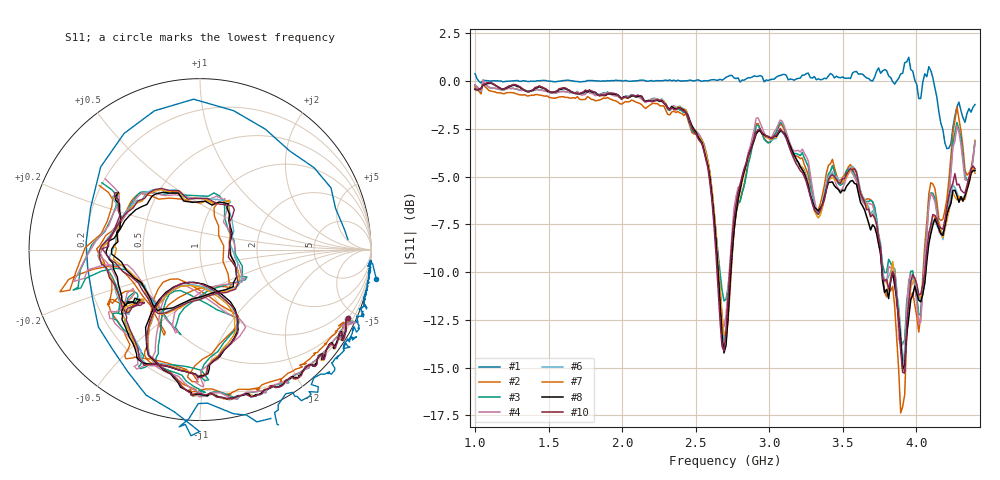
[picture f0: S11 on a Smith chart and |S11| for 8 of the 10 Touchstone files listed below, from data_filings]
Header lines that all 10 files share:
# MHz S MA R 50
!  freq  S11
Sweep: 1 GHz to 4.4 GHz
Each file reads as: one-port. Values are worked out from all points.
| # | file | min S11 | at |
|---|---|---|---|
| 1 | can3_air_aluminium.s1p | -3.5 dB | 4.209 GHz |
| 2 | can3_oil_aluminum_1.s1p | -17.4 dB | 3.895 GHz |
| 3 | can3_oil_aluminum_3.s1p | -13.9 dB | 3.895 GHz |
| 4 | can3_oil_aluminum_4.s1p | -13.8 dB | 3.895 GHz |
| 5 | can3_oil_aluminum_6.s1p | -16.9 dB | 3.908 GHz |
| 6 | can3_oil_aluminum_7.s1p | -15.0 dB | 3.908 GHz |
| 7 | can3_oil_aluminum_9.s1p | -15.2 dB | 3.908 GHz |
| 8 | can3_oil_aluminum_10.s1p | -15.1 dB | 3.908 GHz |
| 9 | can3_oil_aluminum_11.s1p | -15.8 dB | 3.922 GHz |
| 10 | can3_oil_aluminum_12.s1p | -15.3 dB | 3.922 GHz |
